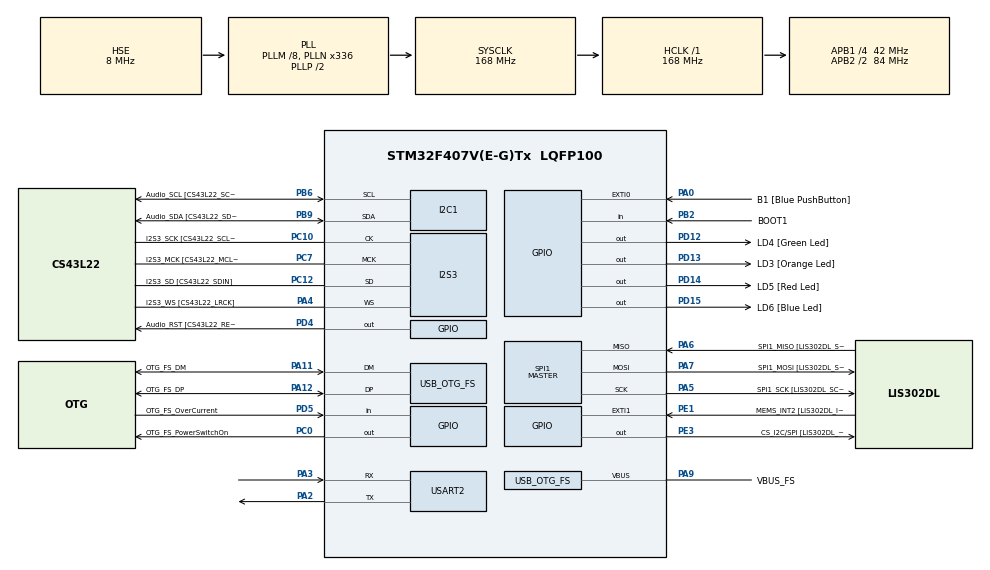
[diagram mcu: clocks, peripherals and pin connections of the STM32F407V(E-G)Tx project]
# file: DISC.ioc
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I2S3.AudioFreq-Half_Duplex_Master=I2S_AUDIOFREQ_96K
I2S3.ErrorAudioFreq=-2.34 %
I2S3.ErrorAudioFreq-Half_Duplex_Master=0.8 %
I2S3.FullDuplexMode=I2S_FULLDUPLEXMODE_DISABLE
I2S3.Instance=SPI$Index
I2S3.RealAudioFreq=93.75 KHz
I2S3.RealAudioFreq-Half_Duplex_Master=96.774 KHz
I2S3.VirtualMode=I2S_MODE_MASTER
Mcu.Family=STM32F4
Mcu.Name=STM32F407V(E-G)Tx
Mcu.Package=LQFP100
NVIC.OTG_FS_IRQn=true\:0\:0\:false\:false\:true\:true\:true\:true
NVIC.PriorityGroup=NVIC_PRIORITYGROUP_0
PA0-WKUP.GPIO_Label=B1 [Blue PushButton]
PA0-WKUP.GPIO_ModeDefaultEXTI=GPIO_MODE_EVT_RISING
PA0-WKUP.GPIO_PuPd=GPIO_NOPULL
PA0-WKUP.Signal=GPXTI0
PA10.GPIO_Label=OTG_FS_ID
PA10.GPIO_Mode=GPIO_MODE_AF_PP
PA10.GPIO_PuPd=GPIO_NOPULL
PA10.GPIO_Speed=GPIO_SPEED_FREQ_LOW
PA10.Signal=USB_OTG_FS_ID
PA11.GPIO_Label=OTG_FS_DM
PA11.GPIO_Mode=GPIO_MODE_AF_PP
PA11.GPIO_PuPd=GPIO_NOPULL
PA11.GPIO_Speed=GPIO_SPEED_FREQ_LOW
PA11.Mode=Host_Only
PA11.Signal=USB_OTG_FS_DM
PA12.GPIO_Label=OTG_FS_DP
PA12.GPIO_Mode=GPIO_MODE_AF_PP
PA12.GPIO_PuPd=GPIO_NOPULL
PA12.GPIO_Speed=GPIO_SPEED_FREQ_LOW
PA12.Mode=Host_Only
PA12.Signal=USB_OTG_FS_DP
PA13.GPIO_Label=SWDIO
PA13.Mode=Serial_Wire
PA13.Signal=SYS_JTMS-SWDIO
PA14.GPIO_Label=SWCLK
PA14.Mode=Serial_Wire
PA14.Signal=SYS_JTCK-SWCLK
PA2.Mode=Asynchronous
PA2.Signal=USART2_TX
PA3.Mode=Asynchronous
PA3.Signal=USART2_RX
PA4.GPIO_Label=I2S3_WS [CS43L22_LRCK]
PA4.GPIO_Mode=GPIO_MODE_AF_PP
PA4.GPIO_PuPd=GPIO_NOPULL
PA4.GPIO_Speed=GPIO_SPEED_FREQ_LOW
PA4.Mode=Half_Duplex_Master
PA4.Signal=I2S3_WS
PA5.GPIO_Label=SPI1_SCK [LIS302DL_SCL/SPC]
PA5.GPIO_Mode=GPIO_MODE_AF_PP
PA5.GPIO_PuPd=GPIO_NOPULL
PA5.GPIO_Speed=GPIO_SPEED_FREQ_LOW
PA5.Mode=Full_Duplex_Master
PA5.Signal=SPI1_SCK
PA6.GPIO_Label=SPI1_MISO [LIS302DL_SDO]
PA6.GPIO_Mode=GPIO_MODE_AF_PP
PA6.GPIO_PuPd=GPIO_NOPULL
PA6.GPIO_Speed=GPIO_SPEED_FREQ_LOW
PA6.Mode=Full_Duplex_Master
PA6.Signal=SPI1_MISO
PA7.GPIO_Label=SPI1_MOSI [LIS302DL_SDA/SDI/SDO]
PA7.GPIO_Mode=GPIO_MODE_AF_PP
PA7.GPIO_PuPd=GPIO_NOPULL
PA7.GPIO_Speed=GPIO_SPEED_FREQ_LOW
PA7.Mode=Full_Duplex_Master
PA7.Signal=SPI1_MOSI
PA9.GPIO_Label=VBUS_FS
PA9.GPIO_Mode=GPIO_MODE_INPUT
PA9.GPIO_PuPd=GPIO_NOPULL
PA9.Mode=Activate_VBUS
PA9.Signal=USB_OTG_FS_VBUS
PB10.GPIO_Label=CLK_IN [MP45DT02_CLK]
PB10.GPIO_Mode=GPIO_MODE_AF_PP
PB10.GPIO_PuPd=GPIO_NOPULL
PB10.GPIO_Speed=GPIO_SPEED_FREQ_LOW
PB10.Signal=I2S2_CK
PB2.GPIO_Label=BOOT1
PB2.GPIO_Mode=GPIO_MODE_INPUT
PB2.GPIO_PuPd=GPIO_NOPULL
PB2.Signal=GPIO_Input
PB3.GPIO_Label=SWO
PB3.Signal=SYS_JTDO-SWO
PB6.GPIO_Label=Audio_SCL [CS43L22_SCL]
PB6.GPIO_Mode=GPIO_MODE_AF_OD
PB6.GPIO_Pu=GPIO_PULLUP
PB6.GPIO_PuPd=GPIO_NOPULL
PB6.GPIO_Speed=GPIO_SPEED_FREQ_LOW
PB6.Mode=I2C
PB6.Signal=I2C1_SCL
PB9.GPIO_Label=Audio_SDA [CS43L22_SDA]
PB9.GPIO_Mode=GPIO_MODE_AF_OD
PB9.GPIO_Pu=GPIO_PULLUP
PB9.GPIO_PuPd=GPIO_NOPULL
PB9.GPIO_Speed=GPIO_SPEED_FREQ_LOW
PB9.Mode=I2C
PB9.Signal=I2C1_SDA
PC0.GPIO_Label=OTG_FS_PowerSwitchOn
PC0.GPIO_PuPd=GPIO_NOPULL
PC0.GPIO_Speed=GPIO_SPEED_FREQ_LOW
PC0.PinState=GPIO_PIN_SET
PC0.Signal=GPIO_Output
PC10.GPIO_Label=I2S3_SCK [CS43L22_SCLK]
PC10.GPIO_Mode=GPIO_MODE_AF_PP
PC10.GPIO_PuPd=GPIO_NOPULL
PC10.GPIO_Speed=GPIO_SPEED_FREQ_LOW
PC10.Mode=Half_Duplex_Master
PC10.Signal=I2S3_CK
PC12.GPIO_Label=I2S3_SD [CS43L22_SDIN]
PC12.GPIO_Mode=GPIO_MODE_AF_PP
PC12.GPIO_PuPd=GPIO_NOPULL
PC12.GPIO_Speed=GPIO_SPEED_FREQ_LOW
PC12.Mode=Half_Duplex_Master
PC12.Signal=I2S3_SD
PC14-OSC32_IN.GPIO_Label=PC14-OSC32_IN
PC14-OSC32_IN.Mode=LSE-External-Oscillator
PC14-OSC32_IN.Signal=RCC_OSC32_IN
PC15-OSC32_OUT.GPIO_Label=PC15-OSC32_OUT
PC15-OSC32_OUT.Mode=LSE-External-Oscillator
PC15-OSC32_OUT.Signal=RCC_OSC32_OUT
PC3.GPIO_Label=PDM_OUT [MP45DT02_DOUT]
PC3.GPIO_Mode=GPIO_MODE_AF_PP
PC3.GPIO_PuPd=GPIO_NOPULL
PC3.GPIO_Speed=GPIO_SPEED_FREQ_LOW
PC3.Signal=I2S2_SD
PC7.GPIO_Label=I2S3_MCK [CS43L22_MCLK]
PC7.GPIO_Mode=GPIO_MODE_AF_PP
PC7.GPIO_PuPd=GPIO_NOPULL
PC7.GPIO_Speed=GPIO_SPEED_FREQ_LOW
PC7.Mode=Master_Clock_Activated
PC7.Signal=I2S3_MCK
PD12.GPIO_Label=LD4 [Green Led]
PD12.GPIO_PuPd=GPIO_NOPULL
PD12.GPIO_Speed=GPIO_SPEED_FREQ_LOW
PD12.PinState=GPIO_PIN_RESET
PD12.Signal=GPIO_Output
PD13.GPIO_Label=LD3 [Orange Led]
PD13.GPIO_PuPd=GPIO_NOPULL
PD13.GPIO_Speed=GPIO_SPEED_FREQ_LOW
PD13.PinState=GPIO_PIN_RESET
PD13.Signal=GPIO_Output
PD14.GPIO_Label=LD5 [Red Led]
PD14.GPIO_PuPd=GPIO_NOPULL
PD14.GPIO_Speed=GPIO_SPEED_FREQ_LOW
PD14.PinState=GPIO_PIN_RESET
PD14.Signal=GPIO_Output
PD15.GPIO_Label=LD6 [Blue Led]
PD15.GPIO_PuPd=GPIO_NOPULL
PD15.GPIO_Speed=GPIO_SPEED_FREQ_LOW
PD15.PinState=GPIO_PIN_RESET
PD15.Signal=GPIO_Output
PD4.GPIO_Label=Audio_RST [CS43L22_RESET]
PD4.GPIO_PuPd=GPIO_NOPULL
PD4.GPIO_Speed=GPIO_SPEED_FREQ_LOW
PD4.Signal=GPIO_Output
PD5.GPIO_Label=OTG_FS_OverCurrent
PD5.GPIO_Mode=GPIO_MODE_INPUT
PD5.GPIO_PuPd=GPIO_NOPULL
PD5.Signal=GPIO_Input
PE1.GPIO_Label=MEMS_INT2 [LIS302DL_INT2]
PE1.GPIO_ModeDefaultEXTI=GPIO_MODE_EVT_RISING
PE1.GPIO_PuPd=GPIO_NOPULL
PE1.Signal=GPXTI1
PE3.GPIO_Label=CS_I2C/SPI [LIS302DL_CS_I2C/SPI]
PE3.GPIO_PuPd=GPIO_NOPULL
PE3.GPIO_Speed=GPIO_SPEED_FREQ_LOW
PE3.Signal=GPIO_Output
PH0-OSC_IN.GPIO_Label=PH0-OSC_IN
PH0-OSC_IN.Mode=HSE-External-Oscillator
PH0-OSC_IN.Signal=RCC_OSC_IN
PH1-OSC_OUT.GPIO_Label=PH1-OSC_OUT
PH1-OSC_OUT.Mode=HSE-External-Oscillator
PH1-OSC_OUT.Signal=RCC_OSC_OUT
ProjectManager.HeapSize=0x200
ProjectManager.StackSize=0x400
ProjectManager.TargetToolchain=CMake
RCC.48MHZClocksFreq_Value=48000000
RCC.AHBFreq_Value=168000000
RCC.APB1CLKDivider=RCC_HCLK_DIV4
RCC.APB1Freq_Value=42000000
RCC.APB1TimFreq_Value=84000000
RCC.APB2CLKDivider=RCC_HCLK_DIV2
RCC.APB2Freq_Value=84000000
RCC.APB2TimFreq_Value=168000000
RCC.CortexFreq_Value=168000000
RCC.HCLKFreq_Value=168000000
RCC.HSE_VALUE=8000000
RCC.HSI_VALUE=16000000
RCC.PLLM=8
RCC.PLLN=336
RCC.PLLQ=7
RCC.RCC_RTC_Clock_Source=RCC_RTCCLKSOURCE_LSI
RCC.RCC_RTC_Clock_SourceVirtual=RCC_RTCCLKSOURCE_LSI
RCC.SYSCLKFreq_VALUE=168000000
RCC.SYSCLKSource=RCC_SYSCLKSOURCE_PLLCLK
RCC.VCOOutputFreq_Value=336000000
SPI1.BaudRatePrescaler-Full_Duplex_Master=SPI_BAUDRATEPRESCALER_2
SPI1.CalculateBaudRate-Full_Duplex_Master=42.0 MBits/s
SPI1.Direction=SPI_DIRECTION_2LINES
SPI1.Mode=SPI_MODE_MASTER
SPI1.Mode-Full_Duplex_Master=SPI_MODE_MASTER
SPI1.VirtualType=VM_MASTER
TIM2.Prescaler=83
USART2.VirtualMode=VM_ASYNC
USB_HOST.BSP.number=1
USB_HOST.USBH_HandleTypeDef-CDC_FS=hUsbHostFS
USB_HOST.VirtualModeFS=Cdc
USB_HOST0.BSP.STBoard=false
USB_HOST0.BSP.api=Unknown
USB_HOST0.BSP.instance=PC0
USB_HOST0.BSP.ip=GPIO
USB_HOST0.BSP.mode=Output
USB_HOST0.BSP.name=Drive_VBUS_FS
USB_HOST0.BSP.solution=PC0
USB_OTG_FS.VirtualMode=Host_Only
USB_OTG_FS.phy_itface=HCD_PHY_EMBEDDED
VP_TIM2_VS_ClockSourceINT.Mode=Internal
VP_USB_HOST_VS_USB_HOST_CDC_FS.Mode=CDC_FS
board=STM32F407G-DISC1

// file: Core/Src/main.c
/* USER CODE BEGIN Header */
/**
  ******************************************************************************
  * @file           : main.c
  * @brief          : Main program body
  ******************************************************************************
  * @attention
  *
  * Copyright (c) 2024 STMicroelectronics.
  * All rights reserved.
  *
  * This software is licensed under terms that can be found in the LICENSE file
  * in the root directory of this software component.
  * If no LICENSE file comes with this software, it is provided AS-IS.
  *
  ******************************************************************************
  */
/* USER CODE END Header */
#include "main.h"
#include "usb_host.h"

/* USER CODE BEGIN Includes */
#include <stdio.h>
#include <rlt_wrapper.h>
/* USER CODE END Includes */

I2C_HandleTypeDef hi2c1;

I2S_HandleTypeDef hi2s3;

SPI_HandleTypeDef hspi1;

TIM_HandleTypeDef htim2;

UART_HandleTypeDef huart2;

/* USER CODE BEGIN PV */
#ifdef __GNUC__

#define PUTCHAR int __io_putchar(int ch)
#else
#define PUTCHAR int __io_putchar(int ch, FILE *f)
#endif

PUTCHAR {
  if (ch == '\n')
    HAL_UART_Transmit(&huart2, (uint8_t *) "\r", 1, 0xFFFF);
  HAL_UART_Transmit(&huart2, (uint8_t *) &ch, 1, 0xFFFF);

  return ch;
}
/* USER CODE END PV */

void SystemClock_Config(void);
static void MX_GPIO_Init(void);
static void MX_I2C1_Init(void);
static void MX_I2S3_Init(void);
static void MX_SPI1_Init(void);
static void MX_USART2_UART_Init(void);
static void MX_TIM2_Init(void);
void MX_USB_HOST_Process(void);

int main(void)
{

  /* MCU Configuration--------------------------------------------------------*/

  /* Reset of all peripherals, Initializes the Flash interface and the Systick. */
  HAL_Init();

  /* Configure the system clock */
  SystemClock_Config();

  /* Initialize all configured peripherals */
  MX_GPIO_Init();
  MX_I2C1_Init();
  MX_I2S3_Init();
  MX_SPI1_Init();
  MX_USB_HOST_Init();
  MX_USART2_UART_Init();
  MX_TIM2_Init();
  /* USER CODE BEGIN 2 */
  HAL_TIM_Base_Start(&htim2);
  init_rlt();

  float mse;
  int epoch = 0;
  uint32_t start, end, interv = 0;
  /* USER CODE END 2 */

  /* Infinite loop */
  while (1)
  {
    MX_USB_HOST_Process();

    /* USER CODE BEGIN 3 */
    start = __HAL_TIM_GET_COUNTER(&htim2);
    train(&mse);
    end = __HAL_TIM_GET_COUNTER(&htim2);
    // printf("!!!\n");
    HAL_GPIO_TogglePin(LD3_GPIO_Port, LD3_Pin);

    interv = end - start;
    epoch++;
    // HAL_Delay(100);
  }
  /* USER CODE END 3 */
}

void SystemClock_Config(void)
{
  RCC_OscInitTypeDef RCC_OscInitStruct = {0};
  RCC_ClkInitTypeDef RCC_ClkInitStruct = {0};

  /** Configure the main internal regulator output voltage
  */
  __HAL_RCC_PWR_CLK_ENABLE();
  __HAL_PWR_VOLTAGESCALING_CONFIG(PWR_REGULATOR_VOLTAGE_SCALE1);

  /** Initializes the RCC Oscillators according to the specified parameters
  * in the RCC_OscInitTypeDef structure.
  */
  RCC_OscInitStruct.OscillatorType = RCC_OSCILLATORTYPE_HSE;
  RCC_OscInitStruct.HSEState = RCC_HSE_ON;
  RCC_OscInitStruct.PLL.PLLState = RCC_PLL_ON;
  RCC_OscInitStruct.PLL.PLLSource = RCC_PLLSOURCE_HSE;
  RCC_OscInitStruct.PLL.PLLM = 8;
  RCC_OscInitStruct.PLL.PLLN = 336;
  RCC_OscInitStruct.PLL.PLLP = RCC_PLLP_DIV2;
  RCC_OscInitStruct.PLL.PLLQ = 7;
  if (HAL_RCC_OscConfig(&RCC_OscInitStruct) != HAL_OK)
  {
    Error_Handler();
  }

  /** Initializes the CPU, AHB and APB buses clocks
  */
  RCC_ClkInitStruct.ClockType = RCC_CLOCKTYPE_HCLK|RCC_CLOCKTYPE_SYSCLK
                              |RCC_CLOCKTYPE_PCLK1|RCC_CLOCKTYPE_PCLK2;
  RCC_ClkInitStruct.SYSCLKSource = RCC_SYSCLKSOURCE_PLLCLK;
  RCC_ClkInitStruct.AHBCLKDivider = RCC_SYSCLK_DIV1;
  RCC_ClkInitStruct.APB1CLKDivider = RCC_HCLK_DIV4;
  RCC_ClkInitStruct.APB2CLKDivider = RCC_HCLK_DIV2;

  if (HAL_RCC_ClockConfig(&RCC_ClkInitStruct, FLASH_LATENCY_5) != HAL_OK)
  {
    Error_Handler();
  }
}

static void MX_I2C1_Init(void)
{

  hi2c1.Instance = I2C1;
  hi2c1.Init.ClockSpeed = 100000;
  hi2c1.Init.DutyCycle = I2C_DUTYCYCLE_2;
  hi2c1.Init.OwnAddress1 = 0;
  hi2c1.Init.AddressingMode = I2C_ADDRESSINGMODE_7BIT;
  hi2c1.Init.DualAddressMode = I2C_DUALADDRESS_DISABLE;
  hi2c1.Init.OwnAddress2 = 0;
  hi2c1.Init.GeneralCallMode = I2C_GENERALCALL_DISABLE;
  hi2c1.Init.NoStretchMode = I2C_NOSTRETCH_DISABLE;
  if (HAL_I2C_Init(&hi2c1) != HAL_OK)
  {
    Error_Handler();
  }

}

static void MX_I2S3_Init(void)
{

  hi2s3.Instance = SPI3;
  hi2s3.Init.Mode = I2S_MODE_MASTER_TX;
  hi2s3.Init.Standard = I2S_STANDARD_PHILIPS;
  hi2s3.Init.DataFormat = I2S_DATAFORMAT_16B;
  hi2s3.Init.MCLKOutput = I2S_MCLKOUTPUT_ENABLE;
  hi2s3.Init.AudioFreq = I2S_AUDIOFREQ_96K;
  hi2s3.Init.CPOL = I2S_CPOL_LOW;
  hi2s3.Init.ClockSource = I2S_CLOCK_PLL;
  hi2s3.Init.FullDuplexMode = I2S_FULLDUPLEXMODE_DISABLE;
  if (HAL_I2S_Init(&hi2s3) != HAL_OK)
  {
    Error_Handler();
  }

}

static void MX_SPI1_Init(void)
{

  /* SPI1 parameter configuration*/
  hspi1.Instance = SPI1;
  hspi1.Init.Mode = SPI_MODE_MASTER;
  hspi1.Init.Direction = SPI_DIRECTION_2LINES;
  hspi1.Init.DataSize = SPI_DATASIZE_8BIT;
  hspi1.Init.CLKPolarity = SPI_POLARITY_LOW;
  hspi1.Init.CLKPhase = SPI_PHASE_1EDGE;
  hspi1.Init.NSS = SPI_NSS_SOFT;
  hspi1.Init.BaudRatePrescaler = SPI_BAUDRATEPRESCALER_2;
  hspi1.Init.FirstBit = SPI_FIRSTBIT_MSB;
  hspi1.Init.TIMode = SPI_TIMODE_DISABLE;
  hspi1.Init.CRCCalculation = SPI_CRCCALCULATION_DISABLE;
  hspi1.Init.CRCPolynomial = 10;
  if (HAL_SPI_Init(&hspi1) != HAL_OK)
  {
    Error_Handler();
  }

}

static void MX_TIM2_Init(void)
{

  TIM_ClockConfigTypeDef sClockSourceConfig = {0};
  TIM_MasterConfigTypeDef sMasterConfig = {0};

  htim2.Instance = TIM2;
  htim2.Init.Prescaler = 83;
  htim2.Init.CounterMode = TIM_COUNTERMODE_UP;
  htim2.Init.Period = 4294967295;
  htim2.Init.ClockDivision = TIM_CLOCKDIVISION_DIV1;
  htim2.Init.AutoReloadPreload = TIM_AUTORELOAD_PRELOAD_DISABLE;
  if (HAL_TIM_Base_Init(&htim2) != HAL_OK)
  {
    Error_Handler();
  }
  sClockSourceConfig.ClockSource = TIM_CLOCKSOURCE_INTERNAL;
  if (HAL_TIM_ConfigClockSource(&htim2, &sClockSourceConfig) != HAL_OK)
  {
    Error_Handler();
  }
  sMasterConfig.MasterOutputTrigger = TIM_TRGO_RESET;
  sMasterConfig.MasterSlaveMode = TIM_MASTERSLAVEMODE_DISABLE;
  if (HAL_TIMEx_MasterConfigSynchronization(&htim2, &sMasterConfig) != HAL_OK)
  {
    Error_Handler();
  }

}

static void MX_USART2_UART_Init(void)
{

  huart2.Instance = USART2;
  huart2.Init.BaudRate = 115200;
  huart2.Init.WordLength = UART_WORDLENGTH_8B;
  huart2.Init.StopBits = UART_STOPBITS_1;
  huart2.Init.Parity = UART_PARITY_NONE;
  huart2.Init.Mode = UART_MODE_TX_RX;
  huart2.Init.HwFlowCtl = UART_HWCONTROL_NONE;
  huart2.Init.OverSampling = UART_OVERSAMPLING_16;
  if (HAL_UART_Init(&huart2) != HAL_OK)
  {
    Error_Handler();
  }

}

static void MX_GPIO_Init(void)
{
  GPIO_InitTypeDef GPIO_InitStruct = {0};

  /* GPIO Ports Clock Enable */
  __HAL_RCC_GPIOE_CLK_ENABLE();
  __HAL_RCC_GPIOC_CLK_ENABLE();
  __HAL_RCC_GPIOH_CLK_ENABLE();
  __HAL_RCC_GPIOA_CLK_ENABLE();
  __HAL_RCC_GPIOB_CLK_ENABLE();
  __HAL_RCC_GPIOD_CLK_ENABLE();

  /*Configure GPIO pin Output Level */
  HAL_GPIO_WritePin(CS_I2C_SPI_GPIO_Port, CS_I2C_SPI_Pin, GPIO_PIN_RESET);

  /*Configure GPIO pin Output Level */
  HAL_GPIO_WritePin(OTG_FS_PowerSwitchOn_GPIO_Port, OTG_FS_PowerSwitchOn_Pin, GPIO_PIN_SET);

  /*Configure GPIO pin Output Level */
  HAL_GPIO_WritePin(GPIOD, LD4_Pin|LD3_Pin|LD5_Pin|LD6_Pin
                          |Audio_RST_Pin, GPIO_PIN_RESET);

  /*Configure GPIO pin : CS_I2C_SPI_Pin */
  GPIO_InitStruct.Pin = CS_I2C_SPI_Pin;
  GPIO_InitStruct.Mode = GPIO_MODE_OUTPUT_PP;
  GPIO_InitStruct.Pull = GPIO_NOPULL;
  GPIO_InitStruct.Speed = GPIO_SPEED_FREQ_LOW;
  HAL_GPIO_Init(CS_I2C_SPI_GPIO_Port, &GPIO_InitStruct);

  /*Configure GPIO pin : OTG_FS_PowerSwitchOn_Pin */
  GPIO_InitStruct.Pin = OTG_FS_PowerSwitchOn_Pin;
  GPIO_InitStruct.Mode = GPIO_MODE_OUTPUT_PP;
  GPIO_InitStruct.Pull = GPIO_NOPULL;
  GPIO_InitStruct.Speed = GPIO_SPEED_FREQ_LOW;
  HAL_GPIO_Init(OTG_FS_PowerSwitchOn_GPIO_Port, &GPIO_InitStruct);

  /*Configure GPIO pin : PDM_OUT_Pin */
  GPIO_InitStruct.Pin = PDM_OUT_Pin;
  GPIO_InitStruct.Mode = GPIO_MODE_AF_PP;
  GPIO_InitStruct.Pull = GPIO_NOPULL;
  GPIO_InitStruct.Speed = GPIO_SPEED_FREQ_LOW;
  GPIO_InitStruct.Alternate = GPIO_AF5_SPI2;
  HAL_GPIO_Init(PDM_OUT_GPIO_Port, &GPIO_InitStruct);

  /*Configure GPIO pin : B1_Pin */
  GPIO_InitStruct.Pin = B1_Pin;
  GPIO_InitStruct.Mode = GPIO_MODE_EVT_RISING;
  GPIO_InitStruct.Pull = GPIO_NOPULL;
  HAL_GPIO_Init(B1_GPIO_Port, &GPIO_InitStruct);

  /*Configure GPIO pin : BOOT1_Pin */
  GPIO_InitStruct.Pin = BOOT1_Pin;
  GPIO_InitStruct.Mode = GPIO_MODE_INPUT;
  GPIO_InitStruct.Pull = GPIO_NOPULL;
  HAL_GPIO_Init(BOOT1_GPIO_Port, &GPIO_InitStruct);

  /*Configure GPIO pin : CLK_IN_Pin */
  GPIO_InitStruct.Pin = CLK_IN_Pin;
  GPIO_InitStruct.Mode = GPIO_MODE_AF_PP;
  GPIO_InitStruct.Pull = GPIO_NOPULL;
  GPIO_InitStruct.Speed = GPIO_SPEED_FREQ_LOW;
  GPIO_InitStruct.Alternate = GPIO_AF5_SPI2;
  HAL_GPIO_Init(CLK_IN_GPIO_Port, &GPIO_InitStruct);

  /*Configure GPIO pins : LD4_Pin LD3_Pin LD5_Pin LD6_Pin
                           Audio_RST_Pin */
  GPIO_InitStruct.Pin = LD4_Pin|LD3_Pin|LD5_Pin|LD6_Pin
                          |Audio_RST_Pin;
  GPIO_InitStruct.Mode = GPIO_MODE_OUTPUT_PP;
  GPIO_InitStruct.Pull = GPIO_NOPULL;
  GPIO_InitStruct.Speed = GPIO_SPEED_FREQ_LOW;
  HAL_GPIO_Init(GPIOD, &GPIO_InitStruct);

  /*Configure GPIO pin : OTG_FS_OverCurrent_Pin */
  GPIO_InitStruct.Pin = OTG_FS_OverCurrent_Pin;
  GPIO_InitStruct.Mode = GPIO_MODE_INPUT;
  GPIO_InitStruct.Pull = GPIO_NOPULL;
  HAL_GPIO_Init(OTG_FS_OverCurrent_GPIO_Port, &GPIO_InitStruct);

  /*Configure GPIO pin : MEMS_INT2_Pin */
  GPIO_InitStruct.Pin = MEMS_INT2_Pin;
  GPIO_InitStruct.Mode = GPIO_MODE_EVT_RISING;
  GPIO_InitStruct.Pull = GPIO_NOPULL;
  HAL_GPIO_Init(MEMS_INT2_GPIO_Port, &GPIO_InitStruct);

}

void Error_Handler(void)
{
  __disable_irq();
  while (1)
  {
  }
}
